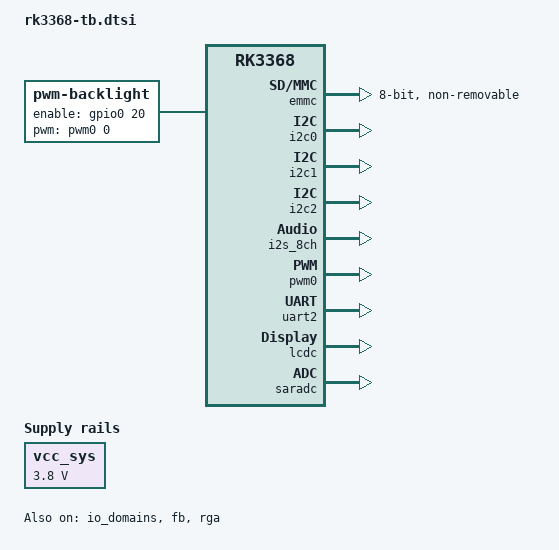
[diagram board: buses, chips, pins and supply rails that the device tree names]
/*
 * Copyright (c) 2015 Fuzhou Rockchip Electronics Co., Ltd
 *
 * This file is dual-licensed: you can use it either under the terms
 * of the GPL or the X11 license, at your option. Note that this dual
 * licensing only applies to this file, and not this project as a
 * whole.
 *
 *  a) This file is free software; you can redistribute it and/or
 *     modify it under the terms of the GNU General Public License as
 *     published by the Free Software Foundation; either version 2 of the
 *     License, or (at your option) any later version.
 *
 *     This file is distributed in the hope that it will be useful,
 *     but WITHOUT ANY WARRANTY; without even the implied warranty of
 *     MERCHANTABILITY or FITNESS FOR A PARTICULAR PURPOSE.  See the
 *     GNU General Public License for more details.
 *
 * Or, alternatively,
 *
 *  b) Permission is hereby granted, free of charge, to any person
 *     obtaining a copy of this software and associated documentation
 *     files (the "Software"), to deal in the Software without
 *     restriction, including without limitation the rights to use,
 *     copy, modify, merge, publish, distribute, sublicense, and/or
 *     sell copies of the Software, and to permit persons to whom the
 *     Software is furnished to do so, subject to the following
 *     conditions:
 *
 *     The above copyright notice and this permission notice shall be
 *     included in all copies or substantial portions of the Software.
 *
 *     THE SOFTWARE IS PROVIDED "AS IS", WITHOUT WARRANTY OF ANY KIND,
 *     EXPRESS OR IMPLIED, INCLUDING BUT NOT LIMITED TO THE WARRANTIES
 *     OF MERCHANTABILITY, FITNESS FOR A PARTICULAR PURPOSE AND
 *     NONINFRINGEMENT. IN NO EVENT SHALL THE AUTHORS OR COPYRIGHT
 *     HOLDERS BE LIABLE FOR ANY CLAIM, DAMAGES OR OTHER LIABILITY,
 *     WHETHER IN AN ACTION OF CONTRACT, TORT OR OTHERWISE, ARISING
 *     FROM, OUT OF OR IN CONNECTION WITH THE SOFTWARE OR THE USE OR
 *     OTHER DEALINGS IN THE SOFTWARE.
 */

#include <dt-bindings/pwm/pwm.h>
#include "rk3368.dtsi"
#include "rk3368-android.dtsi"

/ {
	compatible = "rockchip,tb", "rockchip,rk3368";

	sound {
		compatible = "simple-audio-card";
		simple-audio-card,format = "i2s";
		simple-audio-card,name = "rockchip,rt5640-codec";
		simple-audio-card,mclk-fs = <256>;
		simple-audio-card,widgets =
			"Microphone", "Mic Jack",
			"Headphone", "Headphone Jack";
		simple-audio-card,routing =
			"Mic Jack", "MICBIAS1",
			"IN1P", "Mic Jack",
			"Headphone Jack", "HPOL",
			"Headphone Jack", "HPOR";
		simple-audio-card,cpu {
			sound-dai = <&i2s_8ch>;
		};
		simple-audio-card,codec {
			sound-dai = <&rt5640>;
		};
	};

	backlight: backlight {
		compatible = "pwm-backlight";
		pwms = <&pwm0 0 25000 PWM_POLARITY_INVERTED>;
		brightness-levels = <
			  0   1   2   3   4   5   6   7
			  8   9  10  11  12  13  14  15
			 16  17  18  19  20  21  22  23
			 24  25  26  27  28  29  30  31
			 32  33  34  35  36  37  38  39
			 40  41  42  43  44  45  46  47
			 48  49  50  51  52  53  54  55
			 56  57  58  59  60  61  62  63
			 64  65  66  67  68  69  70  71
			 72  73  74  75  76  77  78  79
			 80  81  82  83  84  85  86  87
			 88  89  90  91  92  93  94  95
			 96  97  98  99 100 101 102 103
			104 105 106 107 108 109 110 111
			112 113 114 115 116 117 118 119
			120 121 122 123 124 125 126 127
			128 129 130 131 132 133 134 135
			136 137 138 139 140 141 142 143
			144 145 146 147 148 149 150 151
			152 153 154 155 156 157 158 159
			160 161 162 163 164 165 166 167
			168 169 170 171 172 173 174 175
			176 177 178 179 180 181 182 183
			184 185 186 187 188 189 190 191
			192 193 194 195 196 197 198 199
			200 201 202 203 204 205 206 207
			208 209 210 211 212 213 214 215
			216 217 218 219 220 221 222 223
			224 225 226 227 228 229 230 231
			232 233 234 235 236 237 238 239
			240 241 242 243 244 245 246 247
			248 249 250 251 252 253 254 255>;
		default-brightness-level = <200>;
		enable-gpios = <&gpio0 20 GPIO_ACTIVE_HIGH>;
	};

	rk_key: rockchip-key {
		compatible = "rockchip,key";
		status = "disabled";

		io-channels = <&saradc 1>;

		vol-up-key {
			linux,code = <115>;
			label = "volume up";
			rockchip,adc_value = <1>;
		};

		vol-down-key {
			linux,code = <114>;
			label = "volume down";
			rockchip,adc_value = <170>;
		};

		power-key {
			gpios = <&gpio0 2 GPIO_ACTIVE_LOW>;
			linux,code = <116>;
			label = "power";
			gpio-key,wakeup;
		};

		menu-key {
			linux,code = <59>;
			label = "menu";
			rockchip,adc_value = <355>;
		};

		home-key {
			linux,code = <102>;
			label = "home";
			rockchip,adc_value = <746>;
		};

		back-key {
			linux,code = <158>;
			label = "back";
			rockchip,adc_value = <560>;
		};

		camera-key {
			linux,code = <212>;
			label = "camera";
			rockchip,adc_value = <450>;
		};
	};

	vcc_sys: vcc-sys {
		compatible = "regulator-fixed";
		regulator-name = "vcc_sys";
		regulator-always-on;
		regulator-boot-on;
		regulator-min-microvolt = <3800000>;
		regulator-max-microvolt = <3800000>;
	};
};

&emmc {
	bus-width = <8>;
	cap-mmc-highspeed;
	supports-emmc;
	disable-wp;
	non-removable;
	num-slots = <1>;
	pinctrl-names = "default";
	pinctrl-0 = <&emmc_clk &emmc_cmd &emmc_bus8>;
	status = "okay";
};

&sdmmc {
	clock-frequency = <37500000>;
	clock-freq-min-max = <400000 37500000>;
	supports-sd;
	cap-mmc-highspeed;
	cap-sd-highspeed;
	card-detect-delay = <200>;
	disable-wp;
	num-slots = <1>;
	pinctrl-names = "default";
	pinctrl-0 = <&sdmmc_clk &sdmmc_cmd &sdmmc_cd &sdmmc_bus4>;
	status = "disabled";
};

&i2c0 {
	status = "okay";

	syr827: syr827@40 {
		compatible = "silergy,syr827";
		status = "disabled";
		reg = <0x40>;

		regulator-compatible = "fan53555-reg";
		regulator-name = "vdd_arm";
		regulator-min-microvolt = <712500>;
		regulator-max-microvolt = <1500000>;
		fcs,suspend-voltage-selector = <1>;
		regulator-always-on;
		regulator-boot-on;
		regulator-initial-state = <3>;
		regulator-state-mem {
			regulator-off-in-suspend;
			regulator-suspend-microvolt = <900000>;
		};
	};

	syr828: syr828@41 {
		compatible = "silergy,syr828";
		status = "disabled";
		reg = <0x41>;

		regulator-compatible = "fan53555-reg";
		regulator-name = "vdd_gpu";
		regulator-min-microvolt = <712500>;
		regulator-max-microvolt = <1500000>;
		fcs,suspend-voltage-selector = <1>;
		regulator-always-on;
		regulator-boot-on;
		regulator-initial-state = <3>;
		regulator-state-mem {
			regulator-on-in-suspend;
			regulator-suspend-microvolt = <900000>;
		};
	};

	act8846: act8846@5a {
		/*
		 * Note: u-boot ONLY match old compatible,
		 * it's better to add both instances here.
		 */
		compatible = "act,act8846", "active-semi,act8846";
		status = "disabled";
		reg = <0x5a>;
		system-power-controller;

		regulators {
			act8846_reg1: REG1 {
				regulator-name = "VCC_DDR";
				regulator-min-microvolt = <1200000>;
				regulator-max-microvolt = <1200000>;
				regulator-always-on;
			};

			act8846_reg2: REG2 {
				regulator-name = "VCC_IO";
				regulator-min-microvolt = <3300000>;
				regulator-max-microvolt = <3300000>;
				regulator-always-on;
			};

			act8846_reg3: REG3 {
				regulator-name = "VDD_LOG";
				regulator-min-microvolt = <700000>;
				regulator-max-microvolt = <1500000>;
				regulator-always-on;
			};

			act8846_reg4: REG4 {
				regulator-name = "VCC_20";
				regulator-min-microvolt = <2000000>;
				regulator-max-microvolt = <2000000>;
				regulator-always-on;
			};

			act8846_reg5: REG5 {
				regulator-name = "VCCIO_SD";
				regulator-min-microvolt = <1800000>;
				regulator-max-microvolt = <3300000>;
				regulator-always-on;
			};

			act8846_reg6: REG6 {
				regulator-name = "VDD10_LCD";
				regulator-min-microvolt = <1000000>;
				regulator-max-microvolt = <1000000>;
				regulator-always-on;
			};

			act8846_reg7: REG7 {
				regulator-name = "VCCA_CODEC";
				regulator-min-microvolt = <3300000>;
				regulator-max-microvolt = <3300000>;
				regulator-always-on;
			};

			act8846_reg8: REG8 {
				regulator-name = "VCCA_TP";
				regulator-min-microvolt = <3300000>;
				regulator-max-microvolt = <3300000>;
				regulator-always-on;
			};

			act8846_reg9: REG9 {
				regulator-name = "VCCIO_PMU";
				regulator-min-microvolt = <3300000>;
				regulator-max-microvolt = <3300000>;
				regulator-always-on;
			};

			act8846_reg10: REG10 {
				regulator-name = "VDD_10";
				regulator-min-microvolt = <1000000>;
				regulator-max-microvolt = <1000000>;
				regulator-always-on;
			};

			act8846_reg11: REG11 {
				regulator-name = "VCC_18";
				regulator-min-microvolt = <1800000>;
				regulator-max-microvolt = <1800000>;
				regulator-always-on;
			};

			act8846_reg12: REG12 {
				regulator-name = "VCC18_LCD";
				regulator-min-microvolt = <1800000>;
				regulator-max-microvolt = <1800000>;
				regulator-always-on;
			};
		};
	};

	rk818: pmic@1c {
		compatible = "rockchip,rk818";
		status = "disabled";
		reg = <0x1c>;
		clock-output-names = "xin32k", "wifibt_32kin";
		interrupt-parent = <&gpio0>;
		interrupts = <1 IRQ_TYPE_LEVEL_LOW>;
		pinctrl-names = "default";
		pinctrl-0 = <&pmic_int_l>;
		rockchip,system-power-controller;
		wakeup-source;
		#clock-cells = <1>;

		vcc1-supply = <&vcc_sys>;
		vcc2-supply = <&vcc_sys>;
		vcc3-supply = <&vcc_sys>;
		vcc4-supply = <&vcc_sys>;
		vcc6-supply = <&vcc_sys>;
		vcc7-supply = <&vcc_sys>;
		vcc8-supply = <&vcc_sys>;
		vcc9-supply = <&vcc_io>;

		regulators {
			vdd_logic: DCDC_REG1 {
				regulator-name = "vdd_logic";
				regulator-always-on;
				regulator-boot-on;
				regulator-min-microvolt = <750000>;
				regulator-max-microvolt = <1450000>;
				regulator-ramp-delay = <6001>;
				regulator-state-mem {
					regulator-on-in-suspend;
					regulator-suspend-microvolt = <1000000>;
				};
			};

			vdd_gpu: DCDC_REG2 {
				regulator-name = "vdd_gpu";
				regulator-always-on;
				regulator-boot-on;
				regulator-min-microvolt = <800000>;
				regulator-max-microvolt = <1250000>;
				regulator-ramp-delay = <6001>;
				regulator-state-mem {
					regulator-on-in-suspend;
					regulator-suspend-microvolt = <1000000>;
				};
			};

			vcc_ddr: DCDC_REG3 {
				regulator-always-on;
				regulator-boot-on;
				regulator-name = "vcc_ddr";
				regulator-state-mem {
					regulator-on-in-suspend;
				};
			};

			vcc_io: DCDC_REG4 {
				regulator-always-on;
				regulator-boot-on;
				regulator-min-microvolt = <3300000>;
				regulator-max-microvolt = <3300000>;
				regulator-name = "vcc_io";
				regulator-state-mem {
					regulator-on-in-suspend;
					regulator-suspend-microvolt = <3300000>;
				};
			};

			vcca_codec: LDO_REG1 {
				regulator-always-on;
				regulator-boot-on;
				regulator-min-microvolt = <3300000>;
				regulator-max-microvolt = <3300000>;
				regulator-name = "vcca_codec";
				regulator-state-mem {
					regulator-on-in-suspend;
					regulator-suspend-microvolt = <3300000>;
				};
			};

			vcc_tp: LDO_REG2 {
				regulator-boot-on;
				regulator-min-microvolt = <3000000>;
				regulator-max-microvolt = <3000000>;
				regulator-name = "vcc_tp";
				regulator-state-mem {
					regulator-off-in-suspend;
				};
			};

			vdd_10: LDO_REG3 {
				regulator-always-on;
				regulator-boot-on;
				regulator-min-microvolt = <1000000>;
				regulator-max-microvolt = <1000000>;
				regulator-name = "vdd_10";
				regulator-state-mem {
					regulator-on-in-suspend;
					regulator-suspend-microvolt = <1000000>;
				};
			};

			vcc18_lcd: LDO_REG4 {
				regulator-always-on;
				regulator-boot-on;
				regulator-min-microvolt = <1800000>;
				regulator-max-microvolt = <1800000>;
				regulator-name = "vcc18_lcd";
				regulator-state-mem {
					regulator-on-in-suspend;
					regulator-suspend-microvolt = <1800000>;
				};
			};

			vccio_pmu: LDO_REG5 {
				regulator-always-on;
				regulator-boot-on;
				regulator-min-microvolt = <1800000>;
				regulator-max-microvolt = <1800000>;
				regulator-name = "vccio_pmu";
				regulator-state-mem {
					regulator-on-in-suspend;
					regulator-suspend-microvolt = <1800000>;
				};
			};

			vdd10_lcd: LDO_REG6 {
				regulator-always-on;
				regulator-boot-on;
				regulator-min-microvolt = <1000000>;
				regulator-max-microvolt = <1000000>;
				regulator-name = "vdd10_lcd";
				regulator-state-mem {
					regulator-on-in-suspend;
					regulator-suspend-microvolt = <1000000>;
				};
			};

			vcc_18: LDO_REG7 {
				regulator-always-on;
				regulator-boot-on;
				regulator-min-microvolt = <1800000>;
				regulator-max-microvolt = <1800000>;
				regulator-name = "vcc_18";
				regulator-state-mem {
					regulator-on-in-suspend;
					regulator-suspend-microvolt = <1800000>;
				};
			};

			vccio_wl: LDO_REG8 {
				regulator-always-on;
				regulator-boot-on;
				regulator-min-microvolt = <1800000>;
				regulator-max-microvolt = <3300000>;
				regulator-name = "vccio_wl";
				regulator-state-mem {
					regulator-on-in-suspend;
					regulator-suspend-microvolt = <3300000>;
				};
			};

			vccio_sd: LDO_REG9 {
				regulator-always-on;
				regulator-boot-on;
				regulator-min-microvolt = <1800000>;
				regulator-max-microvolt = <3300000>;
				regulator-name = "vccio_sd";
				regulator-state-mem {
					regulator-on-in-suspend;
					regulator-suspend-microvolt = <3300000>;
				};
			};

			vcc_sd: SWITCH_REG {
				regulator-always-on;
				regulator-boot-on;
				regulator-name = "vcc_sd";
				regulator-state-mem {
					regulator-on-in-suspend;
				};
			};
		};
	};

};

&i2c1 {
	status = "okay";

	rt5640: rt5640@1c {
		#sound-dai-cells = <0>;
		compatible = "realtek,rt5640";
		reg = <0x1c>;
		clocks = <&cru SCLK_I2S_8CH_OUT>;
		clock-names = "mclk";
		realtek,in1-differential;
		status = "disabled";
	};
};

&i2c2 {
	status = "okay";

	gt911: gt911@14 {
		compatible = "goodix,gt911";
		reg = <0x14>;
		interrupt-parent = <&gpio0>;
		interrupts = <12 0>;
		status = "disabled";
	};

	gt9xx: gt9xx@14 {
		compatible = "goodix,gt9xx";
		reg = <0x14>;
		touch-gpio = <&gpio0 12 IRQ_TYPE_LEVEL_LOW>;
		reset-gpio = <&gpio0 11 GPIO_ACTIVE_HIGH>;
		max-x = <1200>;
		max-y = <1900>;
		tp-size = <911>;
		status = "disabled";
		tp-supply = <&vcc_tp>;
	};
};

&i2s_8ch {
	status = "okay";
	rockchip,i2s-broken-burst-len;
	rockchip,playback-channels = <8>;
	rockchip,capture-channels = <2>;
	#sound-dai-cells = <0>;
};

&io_domains {
	status = "okay";

	dvp-supply = <&vcc_18>;
	audio-supply = <&vcc_io>;
	gpio30-supply = <&vcc_io>;
	gpio1830-supply = <&vcc_io>;
	sdcard-supply = <&vccio_sd>;
	wifi-supply = <&vccio_wl>;
};

&pmu_io_domains {
	status = "okay";

	pmu-supply = <&vcc_io>;
	vop-supply = <&vcc_io>;
};

&pwm0 {
	status = "okay";
};

&uart2 {
	status = "okay";
};

&fb {
	status = "okay";
	rockchip,disp-mode = <NO_DUAL>;
	rockchip,uboot-logo-on = <0>;
};

&lcdc {
	status = "okay";
	backlight = <&backlight>;
	rockchip,mirror = <NO_MIRROR>;
	rockchip,cabc_mode = <0>;
	rockchip,fb-win-map = <FB_DEFAULT_ORDER>;
	power_ctr: power_ctr {
		rockchip,debug = <0>;
		lcd_en: lcd-en {
			rockchip,power_type = <GPIO>;
			gpios = <&gpio0 22 GPIO_ACTIVE_HIGH>;/*GPIO_C6 = 22*/
			rockchip,delay = <10>;
		};

		lcd_cs: lcd-cs {
			rockchip,power_type = <GPIO>;
			gpios = <&gpio0 21 GPIO_ACTIVE_HIGH>;/*GPIO_C5 = 21*/
			rockchip,delay = <10>;
		};

		/*lcd_rst: lcd-rst {
			rockchip,power_type = <GPIO>;
			gpios = <&gpio3 GPIO_D6 GPIO_ACTIVE_HIGH>;
			rockchip,delay = <5>;
		};*/
	};
};

&lvds {
	pinctrl-names = "lcdc", "sleep";
	pinctrl-0 = <&lcdc_lcdc>;
	pinctrl-1 = <&lcdc_gpio>;
	status = "disabled";
};

&rga {
	status = "okay";
};

&saradc {
	status = "okay";
};

&vopb_mmu {
	status = "okay";
};

&pinctrl {
	pmic {
		pmic_int_l: pmic-int-l {
			rockchip,pins = <RK_GPIO0 1 RK_FUNC_GPIO &pcfg_pull_up>;
		};
	};
};
